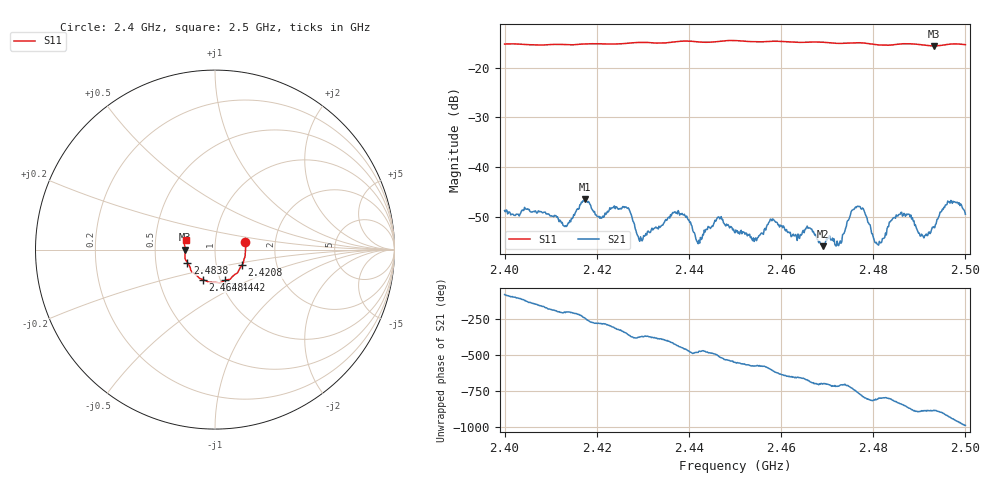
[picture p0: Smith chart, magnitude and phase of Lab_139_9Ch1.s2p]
# Hz S RI R 50
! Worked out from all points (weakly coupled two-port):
!   601 points, 2.4 GHz to 2.5 GHz, reference 50 ohm
!   highest |S21| = -46.53 dB at 2.4175 GHz (marker M1); lowest = -56.0 dB at 2.4692 GHz (marker M2)
!   lowest |S11| = -15.6 dB at 2.4932 GHz (marker M3), VSWR 1.40, Z = 35.8 - j0.0791 ohm
!   |S11| at or under -10 dB: start of sweep to end of sweep
!   S12 and S22 are empty: the file has one direction only
!   S11 on the Smith chart (normalised r, x): 2.4 GHz: 1.40, +0.12; 2.4208 GHz: 1.33, -0.24; 2.4442 GHz: 1.05, -0.37; 2.4648 GHz: 0.83, -0.29; 2.4838 GHz: 0.73, -0.11; 2.5 GHz: 0.72, +0.08
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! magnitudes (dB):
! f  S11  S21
! 2.4 GHz  -15.2  -48.8
! 2.4132 GHz  -15.3  -51.8
! 2.4167 GHz  -15.2  -47.1
! 2.4175 GHz  -15.2  -46.5
! 2.4208 GHz  -15.2  -50.1
! 2.4295 GHz  -14.9  -54.1
! 2.4333 GHz  -15.0  -52.5
! 2.4373 GHz  -14.8  -49.1
! 2.4418 GHz  -14.8  -55.1
! 2.4442 GHz  -14.9  -52.0
! 2.45 GHz  -14.5  -53.3
! 2.4648 GHz  -14.9  -52.8
! 2.4667 GHz  -14.8  -52.5
! 2.4692 GHz  -14.9  -56.0
! 2.4727 GHz  -15.1  -55.4
! 2.4765 GHz  -15.0  -47.9
! 2.4807 GHz  -15.4  -55.2
! 2.4833 GHz  -15.5  -52.0
! 2.4838 GHz  -15.4  -50.8
! 2.4932 GHz  -15.6  -52.0
! 2.4965 GHz  -15.3  -47.0
! 2.5 GHz  -15.4  -49.5
